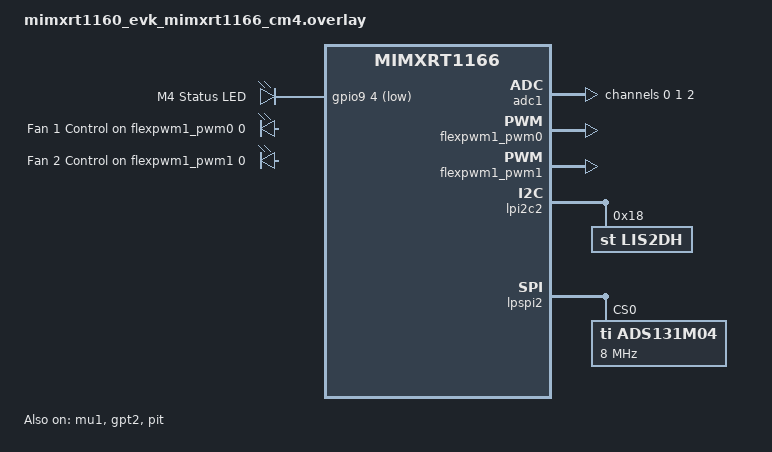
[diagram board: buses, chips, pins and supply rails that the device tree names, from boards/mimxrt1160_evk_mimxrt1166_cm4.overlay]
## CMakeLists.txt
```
# M4 Application CMakeLists.txt
cmake_minimum_required(VERSION 3.20.0)

# Set Zephyr base if building standalone
if(NOT DEFINED ZEPHYR_BASE)
    set(ZEPHYR_BASE ${CMAKE_CURRENT_SOURCE_DIR}/../../3rd_parties/zephyr/zephyr)
endif()

# Explicitly set the project configuration file
set(CONF_FILE ${CMAKE_CURRENT_SOURCE_DIR}/prj.conf)

find_package(Zephyr REQUIRED HINTS ${ZEPHYR_BASE})
project(transformer_gateway_m4)

# Include the ISW library
target_link_libraries(app PRIVATE bl_isw)

# Add M4 specific source files
target_sources(app PRIVATE
    src/main.c
)

# Include directories
target_include_directories(app PRIVATE
    ${CMAKE_CURRENT_SOURCE_DIR}/src
    ${CMAKE_CURRENT_SOURCE_DIR}/../app_isw/src
)

# Include third-party module paths if they exist
if(EXISTS ${CMAKE_CURRENT_SOURCE_DIR}/../../3rd_parties/open-amp)
    target_include_directories(app PRIVATE
        ${CMAKE_CURRENT_SOURCE_DIR}/../../3rd_parties/open-amp/lib/include
    )
endif()

if(EXISTS ${CMAKE_CURRENT_SOURCE_DIR}/../../3rd_parties/libmetal)
    target_include_directories(app PRIVATE
        ${CMAKE_CURRENT_SOURCE_DIR}/../../3rd_parties/libmetal/lib/include
    )
endif()

# Compile definitions for M4
target_compile_definitions(app PRIVATE
    CONFIG_CORE_M4
    CONFIG_TRANSFORMER_GATEWAY_M4
)

# Link with required libraries for M4 features
if(CONFIG_OPENAMP)
    target_link_libraries(app PRIVATE openamp)
endif()

# Performance optimizations for M4
if(CONFIG_SPEED_OPTIMIZATIONS)
    target_compile_options(app PRIVATE -O2)
endif()
```

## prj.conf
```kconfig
# M4 Core Configuration
# Transformer Monitoring Gateway System

# Core identification
CONFIG_SOC_MIMXRT1166_CM4=y

# Enable OpenAMP and IPC
CONFIG_OPENAMP=y
CONFIG_IPC_SERVICE=y
CONFIG_IPC_SERVICE_BACKEND_RPMSG_OPENAMP=y
CONFIG_IPC_SERVICE_BACKEND_RPMSG_OPENAMP_REMOTE=y

# Enable GPIO for control
CONFIG_GPIO=y
CONFIG_PINCTRL=y

# Enable ADC for sensor acquisition
CONFIG_ADC=y
CONFIG_ADC_ASYNC=y

# Enable PWM for fan control
CONFIG_PWM=y

# Enable I2C for sensors
CONFIG_I2C=y

# Enable SPI for high-speed sensors
CONFIG_SPI=y

# Enable timers for precise timing
CONFIG_COUNTER=y
CONFIG_TIMER=y

# Enable logging
CONFIG_LOG=y
CONFIG_LOG_DEFAULT_LEVEL=3
CONFIG_LOG_BUFFER_SIZE=2048

# Thread configuration
CONFIG_MAIN_STACK_SIZE=2048
CONFIG_SYSTEM_WORKQUEUE_STACK_SIZE=1024
CONFIG_HEAP_MEM_POOL_SIZE=8192

# Real-time configuration
CONFIG_SCHED_DEADLINE=y
CONFIG_THREAD_RUNTIME_STATS=y

# Enable watchdog
CONFIG_WATCHDOG=y

# Enable sensors subsystem
CONFIG_SENSOR=y

# Application specific
CONFIG_APPLICATION_INIT_PRIORITY=90

# Performance optimizations
CONFIG_SPEED_OPTIMIZATIONS=y
CONFIG_NO_OPTIMIZATIONS=n
```

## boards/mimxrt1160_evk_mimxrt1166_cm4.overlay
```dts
/*
 * M4 Core Device Tree Overlay
 * MIMXRT1160-EVK Board Configuration
 */

/ {
    /* Shared memory for OpenAMP IPC */
    vdev0_shm: vdev0_shm@200c0000 {
        compatible = "mmio-sram";
        reg = <0x200c0000 0x4000>; /* 16KB shared memory */
    };
    
    /* Aliases for easier access */
    aliases {
        led0 = &user_led;
        pwm0 = &flexpwm1_pwm0;
        adc0 = &adc1;
    };
    
    /* LEDs for M4 status */
    leds {
        compatible = "gpio-leds";
        user_led: led_0 {
            gpios = <&gpio9 4 GPIO_ACTIVE_LOW>;
            label = "M4 Status LED";
        };
    };
    
    /* PWM outputs for fan control */
    pwm_outputs {
        compatible = "pwm-leds";
        
        fan1 {
            pwms = <&flexpwm1_pwm0 0 PWM_MSEC(20) PWM_POLARITY_NORMAL>;
            label = "Fan 1 Control";
        };
        
        fan2 {
            pwms = <&flexpwm1_pwm1 0 PWM_MSEC(20) PWM_POLARITY_NORMAL>;
            label = "Fan 2 Control";
        };
    };
};

/* Enable MU1 for inter-core communication */
&mu1 {
    status = "okay";
};

/* Enable ADC1 for analog measurements */
&adc1 {
    status = "okay";
    pinctrl-0 = <&pinmux_adc1>;
    pinctrl-names = "default";
    
    #address-cells = <1>;
    #size-cells = <0>;
    
    /* Voltage measurement channel */
    channel@0 {
        reg = <0>;
        zephyr,gain = "ADC_GAIN_1";
        zephyr,reference = "ADC_REF_INTERNAL";
        zephyr,acquisition-time = <ADC_ACQ_TIME_DEFAULT>;
        zephyr,resolution = <12>;
    };
    
    /* Current measurement channel */
    channel@1 {
        reg = <1>;
        zephyr,gain = "ADC_GAIN_1";
        zephyr,reference = "ADC_REF_INTERNAL";
        zephyr,acquisition-time = <ADC_ACQ_TIME_DEFAULT>;
        zephyr,resolution = <12>;
    };
    
    /* Temperature measurement channel */
    channel@2 {
        reg = <2>;
        zephyr,gain = "ADC_GAIN_1";
        zephyr,reference = "ADC_REF_INTERNAL";
        zephyr,acquisition-time = <ADC_ACQ_TIME_DEFAULT>;
        zephyr,resolution = <12>;
    };
};

/* Enable PWM for fan control */
&flexpwm1_pwm0 {
    status = "okay";
    pinctrl-0 = <&pinmux_flexpwm1_pwm0>;
    pinctrl-names = "default";
};

&flexpwm1_pwm1 {
    status = "okay";
    pinctrl-0 = <&pinmux_flexpwm1_pwm1>;
    pinctrl-names = "default";
};

/* Enable I2C2 for local sensors */
&lpi2c2 {
    status = "okay";
    pinctrl-0 = <&pinmux_lpi2c2>;
    pinctrl-names = "default";
    
    /* Accelerometer for vibration monitoring */
    lis2dh@18 {
        compatible = "st,lis2dh";
        reg = <0x18>;
        label = "LIS2DH";
    };
};

/* Enable SPI for high-speed ADC */
&lpspi2 {
    status = "okay";
    pinctrl-0 = <&pinmux_lpspi2>;
    pinctrl-names = "default";
    
    /* External high-speed ADC */
    adc_ext: ads131m04@0 {
        compatible = "ti,ads131m04";
        reg = <0>;
        spi-max-frequency = <8000000>;
        label = "ADS131M04";
    };
};

/* Enable GPT2 for precise timing */
&gpt2 {
    status = "okay";
};

/* Enable PIT for periodic interrupts */
&pit {
    status = "okay";
};

/* GPIO configuration for relays and digital I/O */
&gpio_ad_04 {
    status = "okay";
};

&gpio9 {
    status = "okay";
};

&gpio1 {
    status = "okay";
};

&gpio2 {
    status = "okay";
};

/* Chosen node for Zephyr configuration */
/chosen {
    zephyr,ipc-shm = &vdev0_shm;
    zephyr,sram = &ocram;
    zephyr,console = &lpuart2;
};
```

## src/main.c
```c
/*
 * Transformer Monitoring Gateway System - M4 Core Application
 * Dual-core implementation for MIMXRT1160 (M7 + M4)
 * Zephyr RTOS Implementation
 */

#include <zephyr/kernel.h>
#include <zephyr/device.h>
#include <zephyr/drivers/gpio.h>
#include <zephyr/logging/log.h>
#include <zephyr/sys/printk.h>
#include <zephyr/ipc/ipc_service.h>
#include <zephyr/drivers/clock_control.h>
#include <zephyr/drivers/pinctrl.h>
#include <zephyr/drivers/adc.h>
#include <zephyr/drivers/pwm.h>

/* Application specific headers */
#include "bl_zephyr_osal_cfg.h"
#include "bl_isw.h"

LOG_MODULE_REGISTER(gateway_m4, LOG_LEVEL_INF);

/* =============================================================================
 * CORE IDENTIFICATION AND CONFIGURATION
 * =============================================================================*/
#ifdef CONFIG_SOC_MIMXRT1166_CM4
    #define CURRENT_CORE "M4"
    #define IS_M4_CORE 1
#else
    #error "This file is for M4 core only"
#endif

/* =============================================================================
 * THREAD STACK SIZES AND PRIORITIES
 * =============================================================================*/

/* High Priority Real-time Tasks */
#define OPENAMP_COMM_M4_STACK_SIZE      2048
#define OPENAMP_COMM_M4_PRIORITY        5

/* Real-time Control Tasks */
#define FAN_CONTROL_STACK_SIZE          2048
#define FAN_CONTROL_PRIORITY            4

/* Real-time Acquisition Tasks */
#define FREQ_BUSHING_ACQ_STACK_SIZE     3072
#define FREQ_BUSHING_ACQ_PRIORITY       6
#define ENV_ACQ_TASK_STACK_SIZE         2048
#define ENV_ACQ_TASK_PRIORITY           7

/* Safety and Alarm Tasks */
#define ALARM_LOCAL_STACK_SIZE          2048
#define ALARM_LOCAL_PRIORITY            3

/* Calibration Tasks */
#define CALIB_EXEC_STACK_SIZE          2048
#define CALIB_EXEC_PRIORITY            8

/* FOTA Tasks */
#define FOTA_TRIGGER_STACK_SIZE        2048
#define FOTA_TRIGGER_PRIORITY          9

/* Task Periods (in milliseconds) */
#define OPENAMP_COMM_PERIOD            10    /* 100Hz */
#define FAN_CONTROL_PERIOD             20    /* 50Hz */
#define FREQ_BUSHING_ACQ_PERIOD        50    /* 20Hz */
#define ENV_ACQ_PERIOD                100    /* 10Hz */
#define ALARM_LOCAL_PERIOD             50    /* 20Hz */
#define CALIB_EXEC_PERIOD             100    /* 10Hz */
#define FOTA_TRIGGER_PERIOD          1000    /* 1Hz */

/* =============================================================================
 * HARDWARE CONFIGURATION
 * =============================================================================*/

/* ADC Configuration */
#define ADC_DEVICE_NAME         DT_LABEL(DT_NODELABEL(adc1))
#define ADC_RESOLUTION          12
#define ADC_GAIN               ADC_GAIN_1
#define ADC_REFERENCE          ADC_REF_INTERNAL
#define ADC_ACQUISITION_TIME   ADC_ACQ_TIME_DEFAULT

/* PWM Configuration for Fan Control */
#define PWM_DEVICE_NAME        DT_LABEL(DT_NODELABEL(pwm1))
#define PWM_CHANNEL            0
#define PWM_PERIOD_NS          20000  /* 50kHz */

/* =============================================================================
 * DATA STRUCTURES
 * =============================================================================*/

/* Sensor data structure */
typedef struct {
    uint32_t timestamp;
    float frequency;
    float bushing_voltage;
    float bushing_current;
    float temperature;
    float humidity;
    float vibration;
} sensor_data_t;

/* Fan control structure */
typedef struct {
    bool enabled;
    uint8_t speed_percent;
    uint8_t mode;  /* 0: Auto, 1: Manual */
    float target_temperature;
} fan_control_t;

/* Alarm status structure */
typedef struct {
    uint32_t active_alarms;
    uint32_t alarm_history;
    uint8_t severity_level;
} alarm_status_t;

/* =============================================================================
 * GLOBAL VARIABLES
 * =============================================================================*/

/* System status flags */
static bool system_initialized = false;
static bool core_sync_complete = false;

/* Sensor data */
static sensor_data_t current_sensor_data = {0};
static fan_control_t fan_control_state = {
    .enabled = true,
    .speed_percent = 50,
    .mode = 0,
    .target_temperature = 25.0
};
static alarm_status_t alarm_status = {0};

/* Task handles */
static struct k_thread openamp_comm_thread;
static struct k_thread fan_control_thread;
static struct k_thread freq_bushing_acq_thread;
static struct k_thread env_acq_thread;
static struct k_thread alarm_local_thread;
static struct k_thread calib_exec_thread;
static struct k_thread fota_trigger_thread;

/* Task stacks */
K_THREAD_STACK_DEFINE(openamp_comm_stack, OPENAMP_COMM_M4_STACK_SIZE);
K_THREAD_STACK_DEFINE(fan_control_stack, FAN_CONTROL_STACK_SIZE);
K_THREAD_STACK_DEFINE(freq_bushing_acq_stack, FREQ_BUSHING_ACQ_STACK_SIZE);
K_THREAD_STACK_DEFINE(env_acq_stack, ENV_ACQ_TASK_STACK_SIZE);
K_THREAD_STACK_DEFINE(alarm_local_stack, ALARM_LOCAL_STACK_SIZE);
K_THREAD_STACK_DEFINE(calib_exec_stack, CALIB_EXEC_STACK_SIZE);
K_THREAD_STACK_DEFINE(fota_trigger_stack, FOTA_TRIGGER_STACK_SIZE);

/* Synchronization */
K_MUTEX_DEFINE(sensor_data_mutex);
K_MUTEX_DEFINE(fan_control_mutex);

/* =============================================================================
 * TASK IMPLEMENTATIONS
 * =============================================================================*/

/**
 * @brief OpenAMP Communication Task (M4)
 * Handles inter-core communication with M7
 */
static void openamp_comm_m4_task(void *p1, void *p2, void *p3)
{
    bl_ipc_msg_t msg;
    int ret;
    uint32_t msg_count = 0;
    
    LOG_INF("OpenAMP M4 task started");
    
    while (1) {
        /* Check for messages from M7 */
        ret = bl_ipc_recv_msg(&msg, K_MSEC(OPENAMP_COMM_PERIOD/2));
        if (ret == 0) {
            LOG_DBG("Received message from M7: type=%d, len=%d", 
                    msg.msg_type, msg.data_len);
            
            /* Process message based on type */
            switch (msg.msg_type) {
                case BL_MSG_TYPE_FAN_CONTROL:
                    /* Update fan control settings */
                    k_mutex_lock(&fan_control_mutex, K_FOREVER);
                    memcpy(&fan_control_state, msg.data, 
                           MIN(msg.data_len, sizeof(fan_control_t)));
                    k_mutex_unlock(&fan_control_mutex);
                    break;
                    
                case BL_MSG_TYPE_CALIBRATION:
                    /* Handle calibration command */
                    LOG_INF("Received calibration command");
                    break;
                    
                case BL_MSG_TYPE_FOTA_TRIGGER:
                    /* Handle FOTA trigger */
                    LOG_INF("Received FOTA trigger");
                    break;
                    
                default:
                    LOG_WRN("Unknown message type: %d", msg.msg_type);
                    break;
            }
        }
        
        /* Send sensor data to M7 periodically */
        if (++msg_count >= 10) {  /* Every 100ms */
            msg_count = 0;
            
            /* Prepare sensor data message */
            msg.msg_type = BL_MSG_TYPE_SENSOR_DATA;
            
            k_mutex_lock(&sensor_data_mutex, K_FOREVER);
            memcpy(msg.data, &current_sensor_data, sizeof(sensor_data_t));
            msg.data_len = sizeof(sensor_data_t);
            k_mutex_unlock(&sensor_data_mutex);
            
            /* Send to M7 */
            ret = bl_ipc_send_msg(&msg);
            if (ret != 0) {
                LOG_ERR("Failed to send sensor data: %d", ret);
            }
        }
        
        k_msleep(OPENAMP_COMM_PERIOD);
    }
}

/**
 * @brief Fan Control Task
 * Executes real-time fan control based on temperature and commands
 */
static void fan_control_task(void *p1, void *p2, void *p3)
{
    const struct device *pwm_dev;
    uint32_t pulse_width;
    
    LOG_INF("Fan control task started");
    
    /* Get PWM device */
    pwm_dev = device_get_binding(PWM_DEVICE_NAME);
    if (!pwm_dev) {
        LOG_ERR("PWM device not found");
        return;
    }
    
    while (1) {
        k_mutex_lock(&fan_control_mutex, K_FOREVER);
        
        if (fan_control_state.enabled) {
            if (fan_control_state.mode == 0) {
                /* Auto mode - adjust based on temperature */
                k_mutex_lock(&sensor_data_mutex, K_FOREVER);
                float temp_diff = current_sensor_data.temperature - 
                                 fan_control_state.target_temperature;
                k_mutex_unlock(&sensor_data_mutex);
                
                /* Simple proportional control */
                if (temp_diff > 0) {
                    fan_control_state.speed_percent = MIN(100, 
                        50 + (uint8_t)(temp_diff * 10));
                } else {
                    fan_control_state.speed_percent = 50;
                }
            }
            
            /* Calculate PWM duty cycle */
            pulse_width = (PWM_PERIOD_NS * fan_control_state.speed_percent) / 100;
            
            /* Set PWM output */
            pwm_set_dt(pwm_dev, PWM_CHANNEL, PWM_PERIOD_NS, pulse_width, 0);
            
            LOG_DBG("Fan speed: %d%%", fan_control_state.speed_percent);
        } else {
            /* Fan disabled - set PWM to 0 */
            pwm_set_dt(pwm_dev, PWM_CHANNEL, PWM_PERIOD_NS, 0, 0);
        }
        
        k_mutex_unlock(&fan_control_mutex);
        
        k_msleep(FAN_CONTROL_PERIOD);
    }
}

/**
 * @brief Frequency/Bushing Acquisition Task
 * High-speed acquisition of electrical parameters
 */
static void freq_bushing_acq_task(void *p1, void *p2, void *p3)
{
    const struct device *adc_dev;
    struct adc_sequence sequence = {0};
    uint16_t buffer[3];  /* For voltage, current, frequency measurements */
    
    LOG_INF("Frequency/Bushing acquisition task started");
    
    /* Get ADC device */
    adc_dev = device_get_binding(ADC_DEVICE_NAME);
    if (!adc_dev) {
        LOG_ERR("ADC device not found");
        return;
    }
    
    /* Configure ADC sequence */
    sequence.buffer = buffer;
    sequence.buffer_size = sizeof(buffer);
    sequence.resolution = ADC_RESOLUTION;
    
    while (1) {
        /* TODO: Implement actual ADC reading and signal processing */
        
        /* Simulate data acquisition */
        k_mutex_lock(&sensor_data_mutex, K_FOREVER);
        current_sensor_data.frequency = 50.0 + ((float)(sys_rand32_get() % 100) - 50) / 100.0;
        current_sensor_data.bushing_voltage = 230.0 + ((float)(sys_rand32_get() % 20) - 10) / 10.0;
        current_sensor_data.bushing_current = 10.0 + ((float)(sys_rand32_get() % 20) - 10) / 10.0;
        current_sensor_data.timestamp = k_uptime_get_32();
        k_mutex_unlock(&sensor_data_mutex);
        
        LOG_DBG("Freq: %.2f Hz, Voltage: %.1f V, Current: %.1f A",
                current_sensor_data.frequency,
                current_sensor_data.bushing_voltage,
                current_sensor_data.bushing_current);
        
        k_msleep(FREQ_BUSHING_ACQ_PERIOD);
    }
}

/**
 * @brief Environmental Acquisition Task
 * Acquires temperature, humidity, and vibration data
 */
static void env_acq_task(void *p1, void *p2, void *p3)
{
    LOG_INF("Environmental acquisition task started");
    
    while (1) {
        /* TODO: Implement actual sensor reading */
        
        /* Simulate environmental data */
        k_mutex_lock(&sensor_data_mutex, K_FOREVER);
        current_sensor_data.temperature = 25.0 + ((float)(sys_rand32_get() % 100) - 50) / 10.0;
        current_sensor_data.humidity = 60.0 + ((float)(sys_rand32_get() % 40) - 20) / 10.0;
        current_sensor_data.vibration = 0.1 + ((float)(sys_rand32_get() % 10)) / 100.0;
        k_mutex_unlock(&sensor_data_mutex);
        
        LOG_DBG("Temp: %.1f°C, Humidity: %.1f%%, Vibration: %.2f g",
                current_sensor_data.temperature,
                current_sensor_data.humidity,
                current_sensor_data.vibration);
        
        k_msleep(ENV_ACQ_PERIOD);
    }
}

/**
 * @brief Local Alarm Task
 * Processes local safety alarms and immediate responses
 */
static void alarm_local_task(void *p1, void *p2, void *p3)
{
    bl_ipc_msg_t msg;
    bool alarm_state_changed = false;
    
    LOG_INF("Local alarm task started");
    
    while (1) {
        alarm_state_changed = false;
        
        /* Check temperature alarm */
        k_mutex_lock(&sensor_data_mutex, K_FOREVER);
        if (current_sensor_data.temperature > 80.0) {
            if (!(alarm_status.active_alarms & BIT(0))) {
                alarm_status.active_alarms |= BIT(0);
                alarm_state_changed = true;
                LOG_WRN("High temperature alarm: %.1f°C", 
                        current_sensor_data.temperature);
            }
        } else {
            if (alarm_status.active_alarms & BIT(0)) {
                alarm_status.active_alarms &= ~BIT(0);
                alarm_state_changed = true;
                LOG_INF("Temperature alarm cleared");
            }
        }
        
        /* Check vibration alarm */
        if (current_sensor_data.vibration > 1.0) {
            if (!(alarm_status.active_alarms & BIT(1))) {
                alarm_status.active_alarms |= BIT(1);
                alarm_state_changed = true;
                LOG_WRN("High vibration alarm: %.2f g", 
                        current_sensor_data.vibration);
            }
        } else {
            if (alarm_status.active_alarms & BIT(1)) {
                alarm_status.active_alarms &= ~BIT(1);
                alarm_state_changed = true;
                LOG_INF("Vibration alarm cleared");
            }
        }
        k_mutex_unlock(&sensor_data_mutex);
        
        /* Send alarm status to M7 if changed */
        if (alarm_state_changed) {
            msg.msg_type = BL_MSG_TYPE_ALARM_STATUS;
            memcpy(msg.data, &alarm_status, sizeof(alarm_status_t));
            msg.data_len = sizeof(alarm_status_t);
            bl_ipc_send_msg(&msg);
        }
        
        /* Update alarm severity */
        if (alarm_status.active_alarms) {
            alarm_status.severity_level = 2;  /* High severity */
        } else {
            alarm_status.severity_level = 0;  /* No alarms */
        }
        
        k_msleep(ALARM_LOCAL_PERIOD);
    }
}

/**
 * @brief Calibration Execution Task
 * Executes calibration routines
 */
static void calib_exec_task(void *p1, void *p2, void *p3)
{
    LOG_INF("Calibration execution task started");
    
    while (1) {
        /* TODO: Implement calibration execution logic */
        LOG_DBG("Calibration execution check");
        
        k_msleep(CALIB_EXEC_PERIOD);
    }
}

/**
 * @brief FOTA Trigger Task
 * Handles firmware update triggers from M7
 */
static void fota_trigger_task(void *p1, void *p2, void *p3)
{
    LOG_INF("FOTA trigger task started");
    
    while (1) {
        /* TODO: Implement FOTA trigger logic */
        LOG_DBG("FOTA trigger check");
        
        k_msleep(FOTA_TRIGGER_PERIOD);
    }
}

/* =============================================================================
 * APPLICATION CALLBACK FUNCTIONS
 * =============================================================================*/

/**
 * @brief Application 1ms callback
 */
void bl_app_1ms(uint32_t core_id)
{
    /* High-frequency processing if needed */
}

/**
 * @brief Application 5ms callback
 */
void bl_app_5ms(uint32_t core_id)
{
    /* 5ms periodic processing */
}

/**
 * @brief Application 10ms callback
 */
void bl_app_10ms(uint32_t core_id)
{
    /* 10ms periodic processing - OpenAMP communication */
}

/**
 * @brief Application 20ms callback
 */
void bl_app_20ms(uint32_t core_id)
{
    /* 20ms periodic processing - Fan control */
}

/**
 * @brief Application 50ms callback
 */
void bl_app_50ms(uint32_t core_id)
{
    /* 50ms periodic processing - Frequency acquisition, Alarms */
}

/**
 * @brief Application 100ms callback
 */
void bl_app_100ms(uint32_t core_id)
{
    /* 100ms periodic processing - Environmental acquisition */
}

/**
 * @brief Application 200ms callback
 */
void bl_app_200ms(uint32_t core_id)
{
    /* 200ms periodic processing */
}

/**
 * @brief Application 500ms callback
 */
void bl_app_500ms(uint32_t core_id)
{
    /* 500ms periodic processing */
}

/**
 * @brief Application 1000ms callback
 */
void bl_app_1000ms(uint32_t core_id)
{
    /* 1s periodic processing */
    static uint32_t seconds = 0;
    seconds++;
    
    LOG_INF("M4 running for %u seconds", seconds);
    LOG_INF("Active alarms: 0x%08x, Severity: %d", 
            alarm_status.active_alarms, alarm_status.severity_level);
}

/* =============================================================================
 * INITIALIZATION FUNCTIONS
 * =============================================================================*/

/**
 * @brief Initialize M4 peripherals
 */
static int init_m4_peripherals(void)
{
    LOG_INF("Initializing M4 peripherals");
    
    /* TODO: Initialize ADCs */
    /* TODO: Initialize PWM for fan control */
    /* TODO: Initialize GPIO for relays */
    /* TODO: Initialize timers */
    /* TODO: Initialize sensors (I2C/SPI) */
    
    return 0;
}

/**
 * @brief Create and start M4 tasks
 */
static int create_m4_tasks(void)
{
    LOG_INF("Creating M4 tasks");
    
    /* Create OpenAMP communication task */
    k_thread_create(&openamp_comm_thread,
                    openamp_comm_stack,
                    K_THREAD_STACK_SIZEOF(openamp_comm_stack),
                    openamp_comm_m4_task,
                    NULL, NULL, NULL,
                    OPENAMP_COMM_M4_PRIORITY,
                    0, K_NO_WAIT);
    k_thread_name_set(&openamp_comm_thread, "openamp_m4");
    
    /* Create Fan control task */
    k_thread_create(&fan_control_thread,
                    fan_control_stack,
                    K_THREAD_STACK_SIZEOF(fan_control_stack),
                    fan_control_task,
                    NULL, NULL, NULL,
                    FAN_CONTROL_PRIORITY,
                    0, K_NO_WAIT);
    k_thread_name_set(&fan_control_thread, "fan_ctrl");
    
    /* Create Frequency/Bushing acquisition task */
    k_thread_create(&freq_bushing_acq_thread,
                    freq_bushing_acq_stack,
                    K_THREAD_STACK_SIZEOF(freq_bushing_acq_stack),
                    freq_bushing_acq_task,
                    NULL, NULL, NULL,
                    FREQ_BUSHING_ACQ_PRIORITY,
                    0, K_NO_WAIT);
    k_thread_name_set(&freq_bushing_acq_thread, "freq_acq");
    
    /* Create Environmental acquisition task */
    k_thread_create(&env_acq_thread,
                    env_acq_stack,
                    K_THREAD_STACK_SIZEOF(env_acq_stack),
                    env_acq_task,
                    NULL, NULL, NULL,
                    ENV_ACQ_TASK_PRIORITY,
                    0, K_NO_WAIT);
    k_thread_name_set(&env_acq_thread, "env_acq");
    
    /* Create Local alarm task */
    k_thread_create(&alarm_local_thread,
                    alarm_local_stack,
                    K_THREAD_STACK_SIZEOF(alarm_local_stack),
                    alarm_local_task,
                    NULL, NULL, NULL,
                    ALARM_LOCAL_PRIORITY,
                    0, K_NO_WAIT);
    k_thread_name_set(&alarm_local_thread, "alarm_local");
    
    /* Create Calibration execution task */
    k_thread_create(&calib_exec_thread,
                    calib_exec_stack,
                    K_THREAD_STACK_SIZEOF(calib_exec_stack),
                    calib_exec_task,
                    NULL, NULL, NULL,
                    CALIB_EXEC_PRIORITY,
                    0, K_NO_WAIT);
    k_thread_name_set(&calib_exec_thread, "calib_exec");
    
    /* Create FOTA trigger task */
    k_thread_create(&fota_trigger_thread,
                    fota_trigger_stack,
                    K_THREAD_STACK_SIZEOF(fota_trigger_stack),
                    fota_trigger_task,
                    NULL, NULL, NULL,
                    FOTA_TRIGGER_PRIORITY,
                    0, K_NO_WAIT);
    k_thread_name_set(&fota_trigger_thread, "fota_trig");
    
    return 0;
}

/**
 * @brief M4 core initialization
 */
static int bl_isw_data_main_m4_init(void)
{
    int ret;
    
    LOG_INF("=== Transformer Gateway M4 Core Initialization ===");
    
    /* Initialize ISW for M4 */
    bl_isw_init_m4();
    
    /* Initialize M4 peripherals */
    ret = init_m4_peripherals();
    if (ret != 0) {
        LOG_ERR("Failed to initialize peripherals: %d", ret);
        return ret;
    }
    
    /* Create M4 specific tasks */
    ret = create_m4_tasks();
    if (ret != 0) {
        LOG_ERR("Failed to create tasks: %d", ret);
        return ret;
    }
    
    /* Set system initialized */
    bl_set_system_initialized(true);
    system_initialized = true;
    
    LOG_INF("M4 initialization complete");
    return 0;
}

/* =============================================================================
 * MAIN FUNCTION
 * =============================================================================*/

int main(void)
{
    LOG_INF("=== Transformer Monitoring Gateway System ===");
    LOG_INF("Core: %s", CURRENT_CORE);
    LOG_INF("Build: " __DATE__ " " __TIME__);
    
    /* Initialize M4 core */
    bl_isw_data_main_m4_init();
    
    /* Main loop */
    while (1) {
        /* Main thread can perform background tasks or sleep */
        k_msleep(1000);
        
        /* Check system health */
        if (!system_initialized) {
            LOG_ERR("System not properly initialized!");
        }
    }
    
    return 0;
}

/* Register system initialization */
SYS_INIT(bl_isw_data_main_m4_init, APPLICATION, CONFIG_APPLICATION_INIT_PRIORITY);
```
